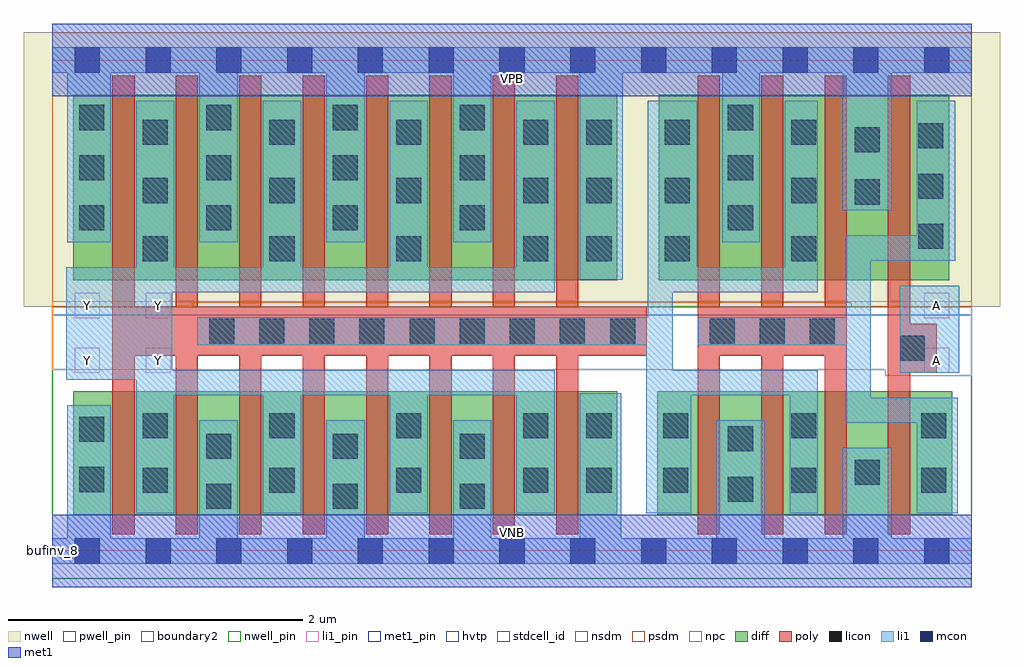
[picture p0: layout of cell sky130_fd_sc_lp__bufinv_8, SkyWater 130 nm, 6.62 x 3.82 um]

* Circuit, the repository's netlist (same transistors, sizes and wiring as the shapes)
* Copyright 2020 The SkyWater PDK Authors
*
* Licensed under the Apache License, Version 2.0 (the "License");
* you may not use this file except in compliance with the License.
* You may obtain a copy of the License at
*
*     https://www.apache.org/licenses/LICENSE-2.0
*
* Unless required by applicable law or agreed to in writing, software
* distributed under the License is distributed on an "AS IS" BASIS,
* WITHOUT WARRANTIES OR CONDITIONS OF ANY KIND, either express or implied.
* See the License for the specific language governing permissions and
* limitations under the License.
*
* SPDX-License-Identifier: Apache-2.0

.SUBCKT sky130_fd_sc_lp__bufinv_8 A VGND VNB VPB VPWR Y
*.PININFO A:I VGND:I VNB:I VPB:I VPWR:I Y:O
MMIN1 Ab A VGND VNB sky130_fd_pr__nfet_01v8 m=1 w=0.84U l=0.15U mult=1 sa=0.265
+ sb=0.265 sd=0.28 area=0.063 perim=1.14
MMIN2 Abb Ab VGND VNB sky130_fd_pr__nfet_01v8 m=3 w=0.84U l=0.15U mult=1 sa=0.265
+ sb=0.265 sd=0.28 area=0.063 perim=1.14
MMIN3 Y Abb VGND VNB sky130_fd_pr__nfet_01v8 m=8 w=0.84U l=0.15U mult=1 sa=0.265
+ sb=0.265 sd=0.28 area=0.063 perim=1.14
MMIP1 Ab A VPWR VPB sky130_fd_pr__pfet_01v8_hvt m=1 w=1.26U l=0.15U mult=1 sa=0.265
+ sb=0.265 sd=0.28 area=0.063 perim=1.14
MMIP2 Abb Ab VPWR VPB sky130_fd_pr__pfet_01v8_hvt m=3 w=1.26U l=0.15U mult=1 sa=0.265
+ sb=0.265 sd=0.28 area=0.063 perim=1.14
MMIP3 Y Abb VPWR VPB sky130_fd_pr__pfet_01v8_hvt m=8 w=1.26U l=0.15U mult=1 sa=0.265
+ sb=0.265 sd=0.28 area=0.063 perim=1.14
.ENDS sky130_fd_sc_lp__bufinv_8

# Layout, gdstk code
import gdstk
lib = gdstk.Library(unit=1e-6, precision=1e-09)
def R(c, l, rs):  # rectangles x0, y0, x1, y1
    for r in rs: c.add(gdstk.rectangle(r[:2], r[2:], *l))
def A(c, l, x, y, w, h, nx, ny, dx, dy):  # array of equal rectangles
    R(c, l, [(x+i*dx, y+j*dy, x+i*dx+w, y+j*dy+h) for i in range(nx) for j in range(ny)])
def P(c, l, *ps):  # polygons
    for p in ps: c.add(gdstk.Polygon(p, *l))
nwell_pin = (64, 16)
nwell = (64, 20)
diff = (65, 20)
poly = (66, 20)
licon = (66, 44)
li1_pin = (67, 16)
li1 = (67, 20)
mcon = (67, 44)
met1_pin = (68, 16)
met1 = (68, 20)
hvtp = (78, 44)
stdcell_id = (81, 4)
nsdm = (93, 44)
psdm = (94, 20)
npc = (95, 20)
pwell_pin = (122, 16)
boundary2 = (236, 0)

sky130_fd_sc_lp__bufinv_ = lib.new_cell('sky130_fd_sc_lp__bufinv_8')
R(sky130_fd_sc_lp__bufinv_, nwell_pin, [(0,3.085,6.24,3.33)])
R(sky130_fd_sc_lp__bufinv_, nwell, [(-0.19,1.655,6.43,3.52)])
R(sky130_fd_sc_lp__bufinv_, diff, [(0.145,0.245,3.835,1.085), (4.105,0.245,6.105,1.085), (0.145,1.835,3.835,3.095), (4.115,1.835,6.085,3.095)])
P(sky130_fd_sc_lp__bufinv_, poly, [(4.035,1.655),(3.57,1.655),(3.57,3.225),(3.42,3.225),(3.42,1.655),(3.14,1.655),(3.14,3.225),(2.99,3.225),(2.99,1.655),(2.71,1.655),(2.71,3.225),(2.56,3.225),(2.56,1.655),(2.28,1.655),(2.28,3.225),(2.13,3.225),(2.13,1.655),(1.85,1.655),(1.85,3.225),(1.7,3.225),(1.7,1.655),(1.42,1.655),(1.42,3.225),(1.27,3.225),(1.27,1.655),(0.99,1.655),(0.99,3.225),(0.84,3.225),(0.84,1.655),(0.56,1.655),(0.56,3.225),(0.41,3.225),(0.41,0.115),(0.56,0.115),(0.56,1.325),(0.84,1.325),(0.84,0.115),(0.99,0.115),(0.99,1.325),(1.27,1.325),(1.27,0.115),(1.42,0.115),(1.42,1.325),(1.7,1.325),(1.7,0.115),(1.85,0.115),(1.85,1.325),(2.13,1.325),(2.13,0.115),(2.28,0.115),(2.28,1.325),(2.56,1.325),(2.56,0.115),(2.71,0.115),(2.71,1.325),(2.99,1.325),(2.99,0.115),(3.14,0.115),(3.14,1.325),(3.42,1.325),(3.42,0.115),(3.57,0.115),(3.57,1.325),(4.035,1.325)],
  [(5.39,3.225),(5.24,3.225),(5.24,1.655),(4.96,1.655),(4.96,3.225),(4.81,3.225),(4.81,1.655),(4.53,1.655),(4.53,3.225),(4.38,3.225),(4.38,0.115),(4.53,0.115),(4.53,1.325),(4.81,1.325),(4.81,0.115),(4.96,0.115),(4.96,1.325),(5.24,1.325),(5.24,0.115),(5.39,0.115)],
  [(6,1.54),(5.82,1.54),(5.82,3.225),(5.67,3.225),(5.67,0.115),(5.82,0.115),(5.82,1.21),(6,1.21)])
A(sky130_fd_sc_lp__bufinv_, licon, 1.045, 0.285, 0.17, 0.17, 3, 2, 0.86, 0.34)
A(sky130_fd_sc_lp__bufinv_, licon, 0.615, 0.395, 0.17, 0.17, 4, 2, 0.86, 0.37)
A(sky130_fd_sc_lp__bufinv_, licon, 1.065, 1.405, 0.17, 0.17, 9, 1, 0.34, 0)
A(sky130_fd_sc_lp__bufinv_, licon, 4.46, 1.405, 0.17, 0.17, 3, 1, 0.34, 0)
A(sky130_fd_sc_lp__bufinv_, licon, 0.615, 1.965, 0.17, 0.17, 4, 3, 0.86, 0.395)
A(sky130_fd_sc_lp__bufinv_, licon, 3.625, 1.965, 0.17, 0.17, 1, 3, 0, 0.395)
A(sky130_fd_sc_lp__bufinv_, licon, 4.155, 1.965, 0.17, 0.17, 1, 3, 0, 0.395)
A(sky130_fd_sc_lp__bufinv_, licon, 5.015, 1.965, 0.17, 0.17, 1, 3, 0, 0.395)
A(sky130_fd_sc_lp__bufinv_, licon, 5.875, 2.05, 0.17, 0.17, 1, 3, 0, 0.34)
A(sky130_fd_sc_lp__bufinv_, licon, 0.185, 2.175, 0.17, 0.17, 4, 3, 0.86, 0.34)
A(sky130_fd_sc_lp__bufinv_, licon, 4.585, 2.175, 0.17, 0.17, 1, 3, 0, 0.34)
R(sky130_fd_sc_lp__bufinv_, licon, [(4.585,0.335,4.755,0.505), (3.625,0.395,3.795,0.565), (4.145,0.395,4.315,0.565), (5.015,0.395,5.185,0.565), (5.895,0.395,6.065,0.565), (0.185,0.4,0.355,0.57), (5.445,0.45,5.615,0.62), (4.585,0.675,4.755,0.845), (0.185,0.74,0.355,0.91), (3.625,0.765,3.795,0.935), (4.145,0.765,4.315,0.935), (5.015,0.765,5.185,0.935), (5.895,0.765,6.065,0.935), (5.75,1.29,5.92,1.46), (5.445,2.35,5.615,2.52), (5.445,2.705,5.615,2.875)])
R(sky130_fd_sc_lp__bufinv_, li1_pin, [(0.155,1.21,0.325,1.38), (0.635,1.21,0.805,1.38), (5.915,1.21,6.085,1.38), (0.155,1.58,0.325,1.75), (0.635,1.58,0.805,1.75), (5.915,1.58,6.085,1.75)])
R(sky130_fd_sc_lp__bufinv_, li1, [(5.75,1.21,6.155,1.8)])
P(sky130_fd_sc_lp__bufinv_, li1, [(3.41,1.225),(0.815,1.225),(0.815,1.755),(3.41,1.755),(3.41,3.055),(3.15,3.055),(3.15,1.925),(2.55,1.925),(2.55,3.055),(2.29,3.055),(2.29,1.925),(1.69,1.925),(1.69,3.055),(1.43,3.055),(1.43,1.925),(0.83,1.925),(0.83,3.055),(0.57,3.055),(0.57,1.925),(0.095,1.925),(0.095,1.16),(0.57,1.16),(0.57,0.255),(0.83,0.255),(0.83,1.055),(1.43,1.055),(1.43,0.255),(1.69,0.255),(1.69,1.055),(2.29,1.055),(2.29,0.255),(2.55,0.255),(2.55,1.055),(3.15,1.055),(3.15,0.255),(3.41,0.255)],
  [(5.195,1.225),(4.21,1.225),(4.21,1.755),(5.195,1.755),(5.195,3.055),(4.97,3.055),(4.97,1.925),(4.375,1.925),(4.375,3.055),(4.04,3.055),(4.04,1.585),(0.985,1.585),(0.985,1.395),(4.03,1.395),(4.03,0.255),(4.335,0.255),(4.335,1.055),(5.005,1.055),(5.005,0.255),(5.195,0.255)],
  [(6.145,1.04),(5.555,1.04),(5.555,1.97),(6.125,1.97),(6.125,3.055),(5.865,3.055),(5.865,2.14),(5.385,2.14),(5.385,1.585),(4.38,1.585),(4.38,1.395),(5.385,1.395),(5.385,0.87),(5.865,0.87),(5.865,0.255),(6.145,0.255)],
  [(6.24,3.415),(0,3.415),(0,3.245),(0.105,3.245),(0.105,2.095),(0.4,2.095),(0.4,3.245),(1,3.245),(1,2.095),(1.26,2.095),(1.26,3.245),(1.86,3.245),(1.86,2.095),(2.12,2.095),(2.12,3.245),(2.72,3.245),(2.72,2.095),(2.98,2.095),(2.98,3.245),(3.58,3.245),(3.58,1.84),(3.87,1.84),(3.87,3.245),(4.545,3.245),(4.545,2.095),(4.8,2.095),(4.8,3.245),(5.365,3.245),(5.365,2.31),(5.695,2.31),(5.695,3.245),(6.24,3.245)],
  [(6.24,0.085),(5.695,0.085),(5.695,0.7),(5.365,0.7),(5.365,0.085),(4.835,0.085),(4.835,0.885),(4.505,0.885),(4.505,0.085),(3.86,0.085),(3.86,1.07),(3.58,1.07),(3.58,0.085),(2.98,0.085),(2.98,0.885),(2.72,0.885),(2.72,0.085),(2.12,0.085),(2.12,0.885),(1.86,0.885),(1.86,0.085),(1.26,0.085),(1.26,0.885),(1,0.885),(1,0.085),(0.4,0.085),(0.4,0.99),(0.105,0.99),(0.105,0.085),(0,0.085),(0,-0.085),(6.24,-0.085)])
A(sky130_fd_sc_lp__bufinv_, mcon, 0.155, -0.085, 0.17, 0.17, 13, 2, 0.48, 3.33)
R(sky130_fd_sc_lp__bufinv_, met1_pin, [(0,0,6.24,0.245), (0,3.085,6.24,3.33)])
R(sky130_fd_sc_lp__bufinv_, met1, [(0,-0.245,6.24,0.245), (0,3.085,6.24,3.575)])
R(sky130_fd_sc_lp__bufinv_, hvtp, [(0,1.6,6.24,3.33)])
R(sky130_fd_sc_lp__bufinv_, stdcell_id, [(0,0,6.24,3.33)])
R(sky130_fd_sc_lp__bufinv_, nsdm, [(0,-0.19,6.24,1.655)])
P(sky130_fd_sc_lp__bufinv_, psdm, [(6.24,3.52),(0,3.52),(0,1.655),(0.955,1.655),(0.955,1.685),(5.42,1.685),(5.42,1.655),(6.24,1.655)])
P(sky130_fd_sc_lp__bufinv_, npc, [(6.24,1.695),(0,1.695),(0,1.23),(5.65,1.23),(5.65,1.19),(6.24,1.19)])
R(sky130_fd_sc_lp__bufinv_, pwell_pin, [(0,0,6.24,0.245)])
R(sky130_fd_sc_lp__bufinv_, boundary2, [(0,0,6.24,3.33)])
sky130_fd_sc_lp__bufinv_.add(gdstk.Label('VNB', (3.12,0.123), layer=64, texttype=59))
sky130_fd_sc_lp__bufinv_.add(gdstk.Label('VPB', (3.12,3.208), layer=64, texttype=5))
sky130_fd_sc_lp__bufinv_.add(gdstk.Label('bufinv_8', (0,0), layer=83, texttype=44))
sky130_fd_sc_lp__bufinv_.add(gdstk.Label('VPWR', (3.12,3.208), layer=68, texttype=5))
sky130_fd_sc_lp__bufinv_.add(gdstk.Label('VGND', (3.12,0.123), layer=68, texttype=5))
sky130_fd_sc_lp__bufinv_.add(gdstk.Label('A', (6,1.295), layer=67, texttype=5))
sky130_fd_sc_lp__bufinv_.add(gdstk.Label('A', (6,1.665), layer=67, texttype=5))
sky130_fd_sc_lp__bufinv_.add(gdstk.Label('Y', (0.24,1.295), layer=67, texttype=5))
sky130_fd_sc_lp__bufinv_.add(gdstk.Label('Y', (0.72,1.295), layer=67, texttype=5))
sky130_fd_sc_lp__bufinv_.add(gdstk.Label('Y', (0.24,1.665), layer=67, texttype=5))
sky130_fd_sc_lp__bufinv_.add(gdstk.Label('Y', (0.72,1.665), layer=67, texttype=5))

lib.write_gds('sky130_fd_sc_lp__bufinv_8.gds')
